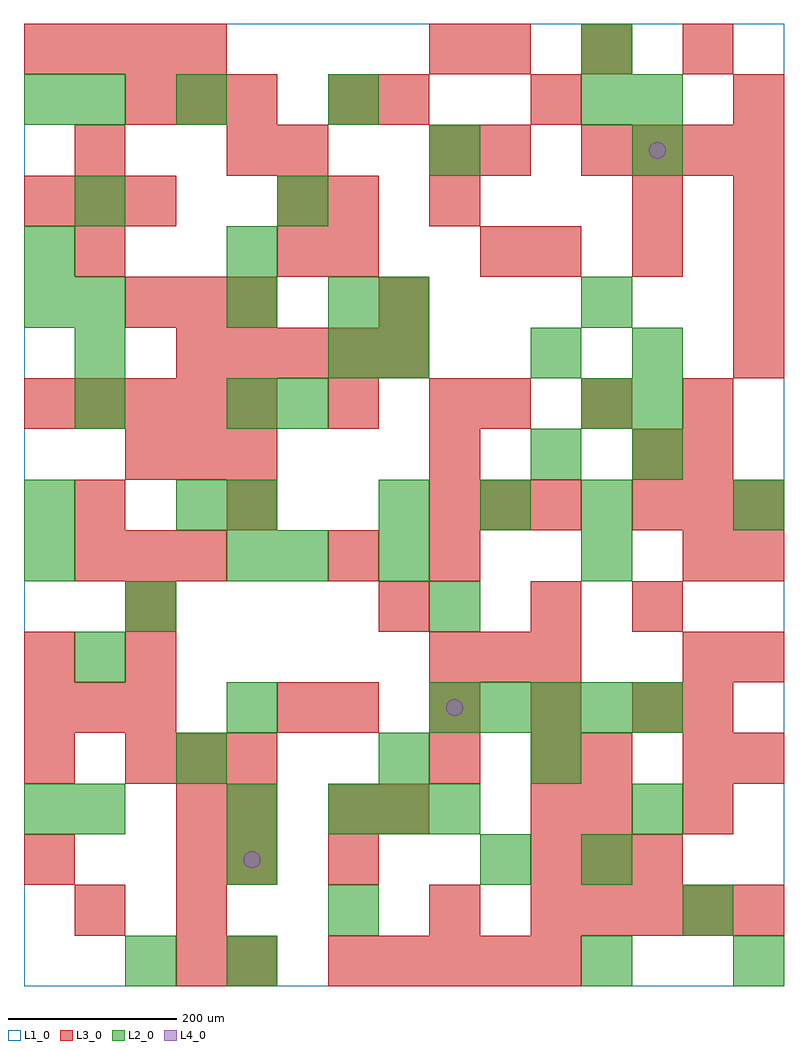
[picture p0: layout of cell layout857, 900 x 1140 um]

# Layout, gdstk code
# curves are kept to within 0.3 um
import gdstk
lib = gdstk.Library(unit=1e-6, precision=1e-09)
def R(c, l, rs):  # rectangles x0, y0, x1, y1
    for r in rs: c.add(gdstk.rectangle(r[:2], r[2:], *l))
def A(c, l, x, y, w, h, nx, ny, dx, dy):  # array of equal rectangles
    R(c, l, [(x+i*dx, y+j*dy, x+i*dx+w, y+j*dy+h) for i in range(nx) for j in range(ny)])
def P(c, l, *ps):  # polygons
    for p in ps: c.add(gdstk.Polygon(p, *l))
L1_0 = (1, 0)
L2_0 = (2, 0)
L3_0 = (3, 0)
L4_0 = (4, 0)

layout857 = lib.new_cell('layout857')
R(layout857, L1_0, [(0,0,900,1140)])
A(layout857, L2_0, 360, 180, 60, 60, 3, 1, 60, 0)
A(layout857, L2_0, 420, 240, 60, 60, 1, 3, 0, 240)
A(layout857, L2_0, 480, 300, 60, 60, 5, 1, 60, 0)
A(layout857, L2_0, 240, 540, 60, 60, 1, 3, 0, 120)
A(layout857, L2_0, 420, 540, 60, 60, 3, 1, 120, 0)
A(layout857, L2_0, 720, 600, 60, 60, 1, 3, 0, 60)
A(layout857, L2_0, 60, 660, 60, 60, 1, 3, 0, 60)
R(layout857, L2_0, [(120,0,180,60), (240,0,300,60), (660,0,720,60), (840,0,900,60), (360,60,420,120), (780,60,840,120), (240,120,300,180), (540,120,600,180), (660,120,720,180), (0,180,60,240), (60,180,120,240), (240,180,300,240), (720,180,780,240), (180,240,240,300), (600,240,660,300), (240,300,300,360), (60,360,120,420), (120,420,180,480), (480,420,540,480), (0,480,60,540), (240,480,300,540), (300,480,360,540), (660,480,720,540), (0,540,60,600), (180,540,240,600), (840,540,900,600), (600,600,660,660), (300,660,360,720), (660,660,720,720), (360,720,420,780), (600,720,660,780), (0,780,60,840), (360,780,420,840), (420,780,480,840), (660,780,720,840), (0,840,60,900), (240,840,300,900), (60,900,120,960), (300,900,360,960), (480,960,540,1020), (720,960,780,1020), (0,1020,60,1080), (60,1020,120,1080), (180,1020,240,1080), (360,1020,420,1080), (660,1020,720,1080), (720,1020,780,1080), (660,1080,720,1140)])
A(layout857, L3_0, 180, 0, 60, 60, 1, 4, 0, 60)
A(layout857, L3_0, 360, 0, 60, 60, 5, 1, 60, 0)
A(layout857, L3_0, 600, 60, 60, 60, 5, 1, 60, 0)
A(layout857, L3_0, 0, 120, 60, 60, 1, 3, 0, 120)
A(layout857, L3_0, 600, 120, 60, 60, 3, 1, 60, 0)
A(layout857, L3_0, 780, 180, 60, 60, 1, 4, 0, 60)
A(layout857, L3_0, 120, 240, 60, 60, 3, 2, 60, 360)
A(layout857, L3_0, 840, 240, 60, 60, 1, 3, 0, 120)
A(layout857, L3_0, 0, 300, 60, 60, 3, 2, 60, 600)
A(layout857, L3_0, 360, 300, 60, 60, 4, 1, 120, 0)
A(layout857, L3_0, 480, 360, 60, 60, 3, 2, 60, 180)
A(layout857, L3_0, 60, 480, 60, 60, 3, 1, 60, 0)
A(layout857, L3_0, 360, 480, 60, 60, 1, 3, 0, 180)
A(layout857, L3_0, 720, 540, 60, 60, 3, 1, 60, 0)
A(layout857, L3_0, 0, 660, 60, 60, 5, 1, 60, 0)
A(layout857, L3_0, 540, 660, 60, 60, 3, 2, 120, 420)
A(layout857, L3_0, 180, 720, 60, 60, 5, 1, 60, 0)
A(layout857, L3_0, 120, 780, 60, 60, 3, 2, 60, 240)
A(layout857, L3_0, 840, 780, 60, 60, 1, 3, 0, 120)
A(layout857, L3_0, 300, 840, 60, 60, 1, 3, 0, 60)
A(layout857, L3_0, 600, 840, 60, 60, 3, 1, 120, 0)
A(layout857, L3_0, 660, 960, 60, 60, 4, 1, 60, 0)
A(layout857, L3_0, 0, 1080, 60, 60, 4, 1, 60, 0)
R(layout857, L3_0, [(240,0,300,60), (60,60,120,120), (480,60,540,120), (240,120,300,180), (360,120,420,180), (240,180,300,240), (360,180,420,240), (420,180,480,240), (600,180,660,240), (660,180,720,240), (480,240,540,300), (600,240,660,300), (660,240,720,300), (300,300,360,360), (120,360,180,420), (120,420,180,480), (420,420,480,480), (600,420,660,480), (720,420,780,480), (480,480,540,540), (780,480,840,540), (60,540,120,600), (240,540,300,600), (480,600,540,660), (720,600,780,660), (780,600,840,660), (480,660,540,720), (840,720,900,780), (420,780,480,840), (60,840,120,900), (540,840,600,900), (360,900,420,960), (480,900,540,960), (720,900,780,960), (60,960,120,1020), (240,960,300,1020), (480,960,540,1020), (540,960,600,1020), (360,1020,420,1080), (420,1020,480,1080), (600,1020,660,1080), (480,1080,540,1140)])
P(layout857, L4_0, [(280,150),(279.239,153.827),(277.071,157.071),(273.827,159.239),(270,160),(266.173,159.239),(262.929,157.071),(260.761,153.827),(260,150),(260.761,146.173),(262.929,142.929),(266.173,140.761),(270,140),(273.827,140.761),(277.071,142.929),(279.239,146.173)],
  [(520,330),(519.239,333.827),(517.071,337.071),(513.827,339.239),(510,340),(506.173,339.239),(502.929,337.071),(500.761,333.827),(500,330),(500.761,326.173),(502.929,322.929),(506.173,320.761),(510,320),(513.827,320.761),(517.071,322.929),(519.239,326.173)],
  [(760,990),(759.239,993.827),(757.071,997.071),(753.827,999.239),(750,1000),(746.173,999.239),(742.929,997.071),(740.761,993.827),(740,990),(740.761,986.173),(742.929,982.929),(746.173,980.761),(750,980),(753.827,980.761),(757.071,982.929),(759.239,986.173)])

lib.write_gds('layout857.gds')
